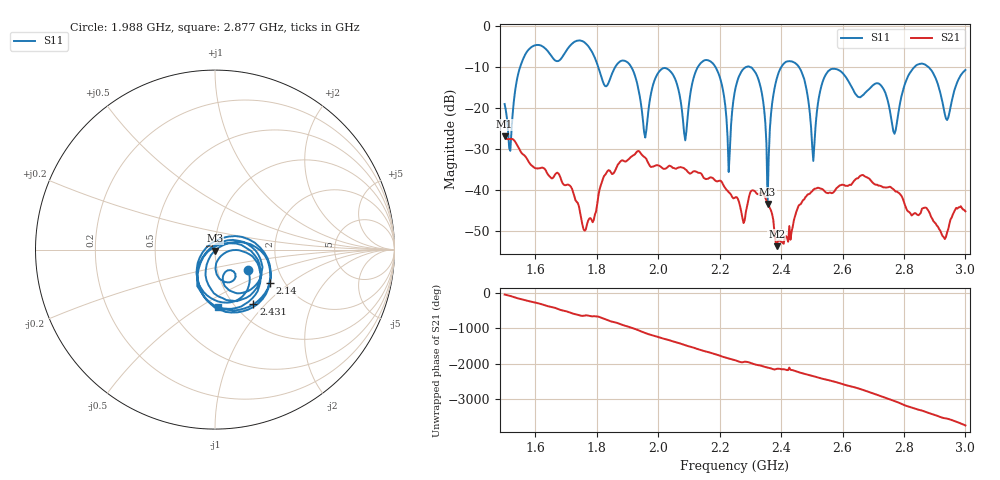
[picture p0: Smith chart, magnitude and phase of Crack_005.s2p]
# HZ S RI R 50
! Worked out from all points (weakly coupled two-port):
!   404 points, 1.5 GHz to 3 GHz, reference 50 ohm
!   highest |S21| = -26.90 dB at 1.5 GHz (marker M1); lowest = -53.7 dB at 2.386 GHz (marker M2)
!   lowest |S11| = -43.4 dB at 2.356 GHz (marker M3), VSWR 1.01, Z = 49.8 - j0.659 ohm
!   |S11| at or under -10 dB: 1.912 GHz to 2.129 GHz (216.8 MHz wide, 10.7 % of centre); 2.458 GHz to 2.834 GHz (376 MHz wide, 14.2 % of centre); 2.88 GHz to end of sweep (the widest 3 of 7)
!   S12 and S22 are empty: the file has one direction only
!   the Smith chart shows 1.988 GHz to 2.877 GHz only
!   S11 on the Smith chart (normalised r, x): 1.988 GHz: 1.40, -0.33; 2.14 GHz: 1.69, -0.72; 2.431 GHz: 1.21, -0.86; 2.877 GHz: 0.84, -0.60
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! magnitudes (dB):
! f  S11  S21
! 1.5 GHz  -19.0  -26.9
! 1.519 GHz  -30.4  -27.5
! 1.586 GHz  -5.2  -33.8
! 1.753 GHz  -3.7  -48.4
! 1.909 GHz  -9.6  -32.0
! 1.958 GHz  -27.2  -32.1
! 1.988 GHz  -13.3  -34.1
! 2.002 GHz  -11.2  -34.0
! 2.088 GHz  -27.9  -34.9
! 2.14 GHz  -8.9  -36.0
! 2.23 GHz  -35.6  -40.5
! 2.252 GHz  -15.0  -41.7
! 2.319 GHz  -11.6  -40.7
! 2.356 GHz  -43.4  -43.3
! 2.386 GHz  -12.8  -53.7
! 2.431 GHz  -8.6  -52.1
! 2.501 GHz  -29.2  -40.3
! 2.561 GHz  -10.6  -40.6
! 2.751 GHz  -19.3  -39.3
! 2.877 GHz  -9.9  -44.8
! 2.94 GHz  -22.9  -50.3
! 3 GHz  -10.7  -45.1
